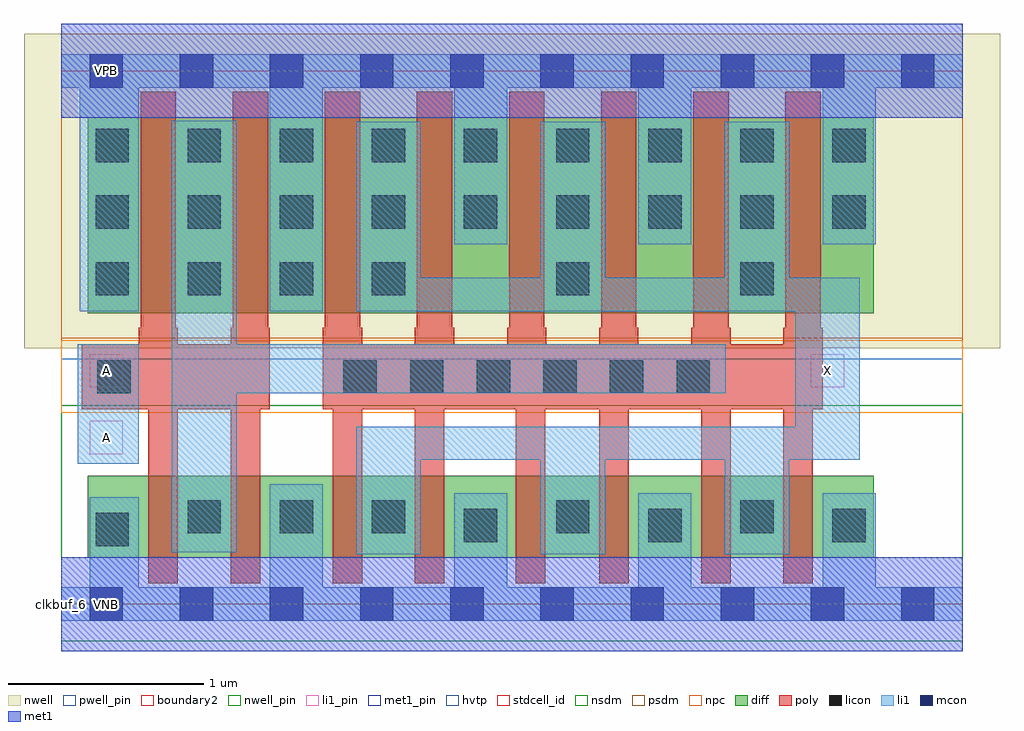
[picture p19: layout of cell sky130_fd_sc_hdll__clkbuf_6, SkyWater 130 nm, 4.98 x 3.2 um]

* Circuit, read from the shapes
.subckt sky130_fd_sc_hdll__clkbuf_6 A VGND VNB VPB VPWR X
XM1 n1 A VGND VNB sky130_fd_pr__nfet_01v8 w=0.42 l=0.15 m=2
XM2 X n1 VGND VNB sky130_fd_pr__nfet_01v8 w=0.42 l=0.15 m=6
XM3 n1 A VPWR VPB sky130_fd_pr__pfet_01v8_hvt w=1 l=0.18 m=2
XM4 X n1 VPWR VPB sky130_fd_pr__pfet_01v8_hvt w=1 l=0.18 m=6
.ends

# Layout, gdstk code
import gdstk
lib = gdstk.Library(unit=1e-6, precision=1e-09)
def R(c, l, rs):  # rectangles x0, y0, x1, y1
    for r in rs: c.add(gdstk.rectangle(r[:2], r[2:], *l))
def A(c, l, x, y, w, h, nx, ny, dx, dy):  # array of equal rectangles
    R(c, l, [(x+i*dx, y+j*dy, x+i*dx+w, y+j*dy+h) for i in range(nx) for j in range(ny)])
def P(c, l, *ps):  # polygons
    for p in ps: c.add(gdstk.Polygon(p, *l))
nwell_pin = (64, 16)
nwell = (64, 20)
diff = (65, 20)
poly = (66, 20)
licon = (66, 44)
li1_pin = (67, 16)
li1 = (67, 20)
mcon = (67, 44)
met1_pin = (68, 16)
met1 = (68, 20)
hvtp = (78, 44)
stdcell_id = (81, 4)
nsdm = (93, 44)
psdm = (94, 20)
npc = (95, 20)
pwell_pin = (122, 16)
boundary2 = (236, 0)

sky130_fd_sc_hdll__clkbu = lib.new_cell('sky130_fd_sc_hdll__clkbuf_6')
R(sky130_fd_sc_hdll__clkbu, nwell_pin, [(0.145,2.635,0.315,2.805)])
R(sky130_fd_sc_hdll__clkbu, nwell, [(-0.19,1.305,4.79,2.91)])
R(sky130_fd_sc_hdll__clkbu, diff, [(0.135,0.235,4.145,0.655), (0.135,1.485,4.145,2.485)])
P(sky130_fd_sc_hdll__clkbu, poly, [(1.065,1.41),(1.055,1.41),(1.055,2.615),(0.875,2.615),(0.875,1.41),(0.865,1.41),(0.865,1.325),(0.595,1.325),(0.595,1.41),(0.585,1.41),(0.585,2.615),(0.405,2.615),(0.405,1.41),(0.395,1.41),(0.395,1.325),(0.105,1.325),(0.105,0.995),(0.445,0.995),(0.445,0.105),(0.595,0.105),(0.595,0.995),(0.865,0.995),(0.865,0.105),(1.015,0.105),(1.015,0.995),(1.065,0.995)],
  [(3.885,1.41),(3.875,1.41),(3.875,2.615),(3.695,2.615),(3.695,1.41),(3.685,1.41),(3.685,1.325),(3.415,1.325),(3.415,1.41),(3.405,1.41),(3.405,2.615),(3.225,2.615),(3.225,1.41),(3.215,1.41),(3.215,1.325),(2.945,1.325),(2.945,1.41),(2.935,1.41),(2.935,2.615),(2.755,2.615),(2.755,1.41),(2.745,1.41),(2.745,1.325),(2.475,1.325),(2.475,1.41),(2.465,1.41),(2.465,2.615),(2.285,2.615),(2.285,1.41),(2.275,1.41),(2.275,1.325),(2.005,1.325),(2.005,1.41),(1.995,1.41),(1.995,2.615),(1.815,2.615),(1.815,1.41),(1.805,1.41),(1.805,1.325),(1.535,1.325),(1.535,1.41),(1.525,1.41),(1.525,2.615),(1.345,2.615),(1.345,1.41),(1.335,1.41),(1.335,0.995),(1.385,0.995),(1.385,0.105),(1.535,0.105),(1.535,0.995),(1.805,0.995),(1.805,0.105),(1.955,0.105),(1.955,0.995),(2.32,0.995),(2.32,0.105),(2.47,0.105),(2.47,0.995),(2.745,0.995),(2.745,0.105),(2.895,0.105),(2.895,0.995),(3.265,0.995),(3.265,0.105),(3.415,0.105),(3.415,0.995),(3.685,0.995),(3.685,0.105),(3.835,0.105),(3.835,0.995),(3.885,0.995)])
A(sky130_fd_sc_hdll__clkbu, licon, 2.055, 0.315, 0.17, 0.17, 3, 1, 0.94, 0)
A(sky130_fd_sc_hdll__clkbu, licon, 0.645, 0.36, 0.17, 0.17, 3, 1, 0.47, 0)
A(sky130_fd_sc_hdll__clkbu, licon, 1.44, 1.075, 0.17, 0.17, 6, 1, 0.34, 0)
A(sky130_fd_sc_hdll__clkbu, licon, 0.175, 1.575, 0.17, 0.17, 4, 1, 0.47, 0)
A(sky130_fd_sc_hdll__clkbu, licon, 0.175, 1.915, 0.17, 0.17, 9, 2, 0.47, 0.34)
R(sky130_fd_sc_hdll__clkbu, licon, [(0.175,0.295,0.345,0.465), (2.525,0.36,2.695,0.53), (3.465,0.36,3.635,0.53), (0.185,1.075,0.355,1.245), (2.525,1.575,2.695,1.745), (3.465,1.575,3.635,1.745)])
R(sky130_fd_sc_hdll__clkbu, li1_pin, [(0.145,0.765,0.315,0.935), (0.145,1.105,0.315,1.275), (3.825,1.105,3.995,1.275)])
R(sky130_fd_sc_hdll__clkbu, li1, [(0.085,0.715,0.395,1.325)])
P(sky130_fd_sc_hdll__clkbu, li1, [(3.39,1.325),(0.895,1.325),(0.895,2.465),(0.565,2.465),(0.565,0.265),(0.895,0.265),(0.895,1.075),(3.39,1.075)],
  [(4.075,1.665),(3.715,1.665),(3.715,2.46),(3.385,2.46),(3.385,1.665),(2.775,1.665),(2.775,2.46),(2.445,2.46),(2.445,1.665),(1.835,1.665),(1.835,2.46),(1.505,2.46),(1.505,1.495),(3.745,1.495),(3.745,0.905),(1.505,0.905),(1.505,0.255),(1.835,0.255),(1.835,0.735),(2.445,0.735),(2.445,0.255),(2.775,0.255),(2.775,0.735),(3.385,0.735),(3.385,0.255),(3.715,0.255),(3.715,0.735),(4.075,0.735)],
  [(4.6,2.805),(0,2.805),(0,2.635),(0.095,2.635),(0.095,1.495),(0.395,1.495),(0.395,2.635),(1.065,2.635),(1.065,1.495),(1.335,1.495),(1.335,2.635),(2.005,2.635),(2.005,1.835),(2.275,1.835),(2.275,2.635),(2.945,2.635),(2.945,1.835),(3.215,1.835),(3.215,2.635),(3.885,2.635),(3.885,1.835),(4.155,1.835),(4.155,2.635),(4.6,2.635)],
  [(4.6,0.085),(4.155,0.085),(4.155,0.565),(3.885,0.565),(3.885,0.085),(3.215,0.085),(3.215,0.565),(2.945,0.565),(2.945,0.085),(2.275,0.085),(2.275,0.565),(2.005,0.565),(2.005,0.085),(1.335,0.085),(1.335,0.61),(1.065,0.61),(1.065,0.085),(0.395,0.085),(0.395,0.545),(0.145,0.545),(0.145,0.085),(0,0.085),(0,-0.085),(4.6,-0.085)])
A(sky130_fd_sc_hdll__clkbu, mcon, 0.145, -0.085, 0.17, 0.17, 10, 2, 0.46, 2.72)
R(sky130_fd_sc_hdll__clkbu, met1_pin, [(0.145,-0.085,0.315,0.085), (0.145,2.635,0.315,2.805)])
R(sky130_fd_sc_hdll__clkbu, met1, [(0,-0.24,4.6,0.24), (0,2.48,4.6,2.96)])
R(sky130_fd_sc_hdll__clkbu, hvtp, [(0,1.25,4.6,2.72)])
R(sky130_fd_sc_hdll__clkbu, stdcell_id, [(0,0,4.6,2.72)])
R(sky130_fd_sc_hdll__clkbu, nsdm, [(0,-0.19,4.6,1.015)])
R(sky130_fd_sc_hdll__clkbu, psdm, [(0,1.355,4.6,2.91)])
R(sky130_fd_sc_hdll__clkbu, npc, [(0,0.975,4.6,1.345)])
R(sky130_fd_sc_hdll__clkbu, pwell_pin, [(0.145,-0.085,0.315,0.085)])
R(sky130_fd_sc_hdll__clkbu, boundary2, [(0,0,4.6,2.72)])
sky130_fd_sc_hdll__clkbu.add(gdstk.Label('A', (0.23,0.85), layer=67, texttype=5))
sky130_fd_sc_hdll__clkbu.add(gdstk.Label('X', (3.91,1.19), layer=67, texttype=5))
sky130_fd_sc_hdll__clkbu.add(gdstk.Label('A', (0.23,1.19), layer=67, texttype=5))
sky130_fd_sc_hdll__clkbu.add(gdstk.Label('VPB', (0.23,2.72), layer=64, texttype=5))
sky130_fd_sc_hdll__clkbu.add(gdstk.Label('VNB', (0.23,0), layer=64, texttype=59))
sky130_fd_sc_hdll__clkbu.add(gdstk.Label('VGND', (0.23,0), layer=68, texttype=5))
sky130_fd_sc_hdll__clkbu.add(gdstk.Label('VPWR', (0.23,2.72), layer=68, texttype=5))
sky130_fd_sc_hdll__clkbu.add(gdstk.Label('clkbuf_6', (0,0), layer=83, texttype=44))

lib.write_gds('sky130_fd_sc_hdll__clkbuf_6.gds')
